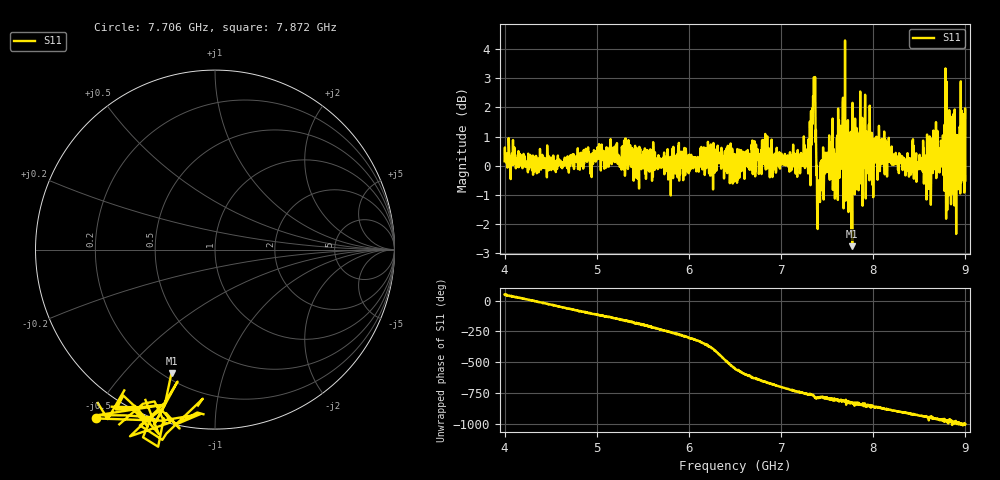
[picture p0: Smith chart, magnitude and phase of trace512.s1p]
! Created with skrf 1.8.0 (http://scikit-rf.org).
# Hz S RI R 50.0
!freq ReS11 ImS11
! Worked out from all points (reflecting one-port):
!   1601 points, 4 GHz to 9 GHz, reference 50 ohm
!   lowest |S11| = -2.8 dB at 7.772 GHz (marker M1), VSWR 6.37, Z = 11.6 - j34.1 ohm
!   phase of S11 starts at 50 deg and turns -1052 deg over the sweep
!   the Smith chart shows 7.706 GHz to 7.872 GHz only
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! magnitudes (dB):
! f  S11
! 4 GHz  0.2
! 4.625 GHz  -0.1
! 5.25 GHz  0.0
! 5.875 GHz  0.4
! 6.331 GHz  0.2
! 6.5 GHz  0.3
! 6.806 GHz  0.3
! 7.125 GHz  0.3
! 7.294 GHz  -0.3
! 7.347 GHz  2.4
! 7.362 GHz  2.9
! 7.409 GHz  -1.2
! 7.497 GHz  -0.2
! 7.591 GHz  0.4
! 7.669 GHz  2.2
! 7.722 GHz  -0.7
! 7.75 GHz  -0.4
! 7.772 GHz  -2.8
! 7.8 GHz  -1.0
! 7.891 GHz  -0.1
! 8.375 GHz  0.0
! 8.603 GHz  0.6
! 8.656 GHz  1.0
! 8.766 GHz  0.8
! 8.809 GHz  1.7
! 8.906 GHz  0.3
! 8.972 GHz  0.1
! 9 GHz  -0.5
